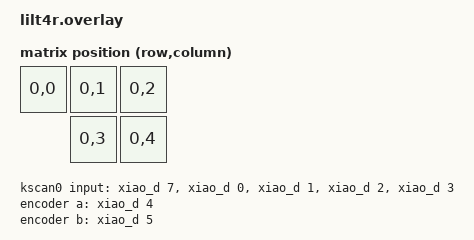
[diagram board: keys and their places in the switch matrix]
#include <dt-bindings/zmk/matrix_transform.h>
#include <physical_layouts.dtsi>
#include <dt-bindings/led/led.h>

/ {
    chosen {
        zmk,underglow = &led_strip;
        zmk,physical-layout = &default_layout;
    };

    default_transform: keymap_transform_0 {
        compatible = "zmk,matrix-transform";
        columns = <5>;
        rows = <1>;
        map = <RC(0,0) RC(0,1) RC(0,2) RC(0,3) RC(0,4)>;
    };

    physical_layouts {
        compatible = "zmk,physical-layouts";
        default_layout: default_layout {
            compatible = "zmk,physical-layout";
            display-name = "Default Layout";
            transform = <&default_transform>;
            kscan = <&kscan0>;
            keys
                = <&key_physical_attrs 100 100 0 0 0 0 0>
                , <&key_physical_attrs 100 100 100 0 0 0 0>
                , <&key_physical_attrs 100 100 200 0 0 0 0>
                , <&key_physical_attrs 100 100 100 100 0 0 0>
                , <&key_physical_attrs 100 100 200 100 0 0 0>
                ;
        };
    };

    kscan0: kscan_0 {
        compatible = "zmk,kscan-gpio-direct";
        label = "KSCAN";
        input-gpios
            = <&xiao_d 7 (GPIO_ACTIVE_LOW | GPIO_PULL_UP)>
            , <&xiao_d 0 (GPIO_ACTIVE_LOW | GPIO_PULL_UP)>
            , <&xiao_d 1 (GPIO_ACTIVE_LOW | GPIO_PULL_UP)>
            , <&xiao_d 2 (GPIO_ACTIVE_LOW | GPIO_PULL_UP)>
            , <&xiao_d 3 (GPIO_ACTIVE_LOW | GPIO_PULL_UP)>
            ;
    };

    encoder: encoder {
        compatible = "alps,ec11";
        label = "ENCODER";
        a-gpios = <&xiao_d 4 (GPIO_ACTIVE_HIGH | GPIO_PULL_UP)>;
        b-gpios = <&xiao_d 5 (GPIO_ACTIVE_HIGH | GPIO_PULL_UP)>;
        steps = <80>;
        status = "okay";
    };

    sensors {
        compatible = "zmk,keymap-sensors";
        sensors = <&encoder>;
        triggers-per-rotation = <20>;
    };
};



////////////////////////////////////////////
// LED (UNDERGLOW)
////////////////////////////////////////////

&pinctrl {
    pio0_spi0_default: pio0_spi0_default {
        group1 {
            pinmux = <PIO0_P0>;
        };
    };
};

&pio0 {
    status = "okay";

    pio0_aspi0: pio0_spi0 {
        pinctrl-0 = <&pio0_spi0_default>;
        pinctrl-names = "default";
        
        compatible = "raspberrypi,pico-spi-pio";
        #address-cells = <1>;
        #size-cells = <0>;
        clocks = <&system_clk>;
        clock-frequency = <4000000>;

        clk-gpios = <&gpio0 8 GPIO_ACTIVE_HIGH>;    // 使わないので空ピンをダミーで
        mosi-gpios = <&xiao_d 6 GPIO_ACTIVE_HIGH>;
        miso-gpios = <&xiao_d 8 GPIO_ACTIVE_HIGH>;  // 使わないので空ピンをダミーで

        led_strip: ws2812@0 {
            compatible = "worldsemi,ws2812-spi";

            /* SPI */
            reg = <0>;
            spi-max-frequency = <4000000>;

            /* WS2812 */
            chain-length = <2>;
            spi-one-frame = <0x70>;
            spi-zero-frame = <0x40>;
            color-mapping = <LED_COLOR_ID_GREEN
                             LED_COLOR_ID_RED
                             LED_COLOR_ID_BLUE>;
        };
    };
};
